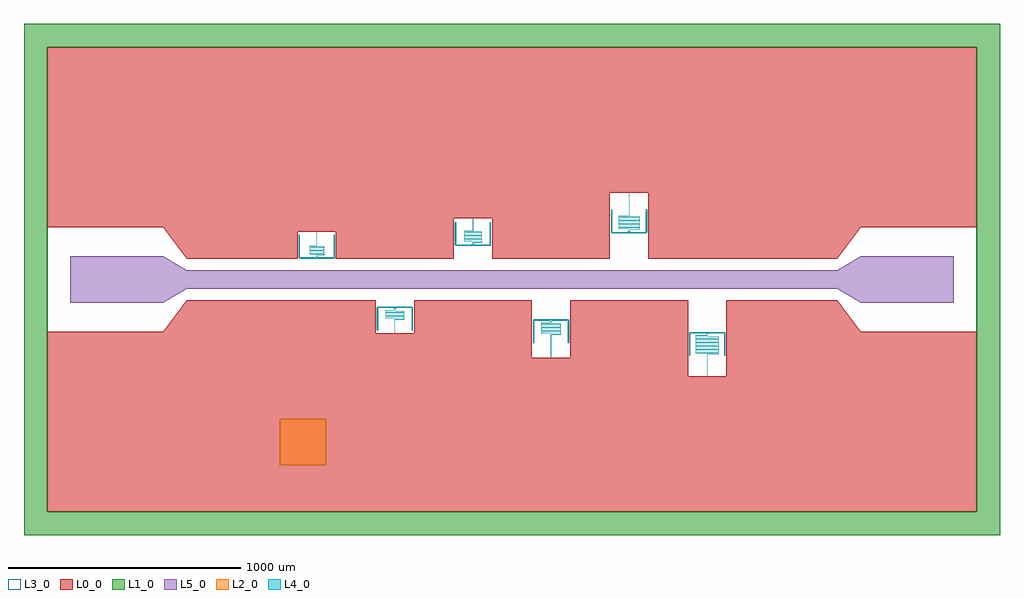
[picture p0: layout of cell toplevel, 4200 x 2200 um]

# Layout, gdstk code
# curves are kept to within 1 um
import gdstk
lib = gdstk.Library(unit=1e-6, precision=1e-09)
def R(c, l, rs):  # rectangles x0, y0, x1, y1
    for r in rs: c.add(gdstk.rectangle(r[:2], r[2:], *l))
def P(c, l, *ps):  # polygons
    for p in ps: c.add(gdstk.Polygon(p, *l))
L0_0 = (0, 0)
L1_0 = (1, 0)
L2_0 = (2, 0)
L3_0 = (3, 0)
L4_0 = (4, 0)
L5_0 = (5, 0)

toplevel = lib.new_cell('toplevel')
P(toplevel, L0_0, [(-757.5,205),(-757.5,90),(-250.5,90),(-250.5,264.4),(-85.5,264.4),(-85.5,90),(421.5,90),(421.5,373.8),(586.5,373.8),(586.5,90),(1400,90),(1500,225),(2000,225),(2000,1000),(-2000,1000),(-2000,225),(-1500,225),(-1400,90),(-922.5,90),(-922.5,205)],
  [(1400,-90),(922.5,-90),(922.5,-416),(757.5,-416),(757.5,-90),(250.5,-90),(250.5,-336.6),(85.5,-336.6),(85.5,-90),(-421.5,-90),(-421.5,-232.2),(-586.5,-232.2),(-586.5,-90),(-1400,-90),(-1500,-225),(-2000,-225),(-2000,-1000),(2000,-1000),(2000,-225),(1500,-225)])
P(toplevel, L1_0, [(2100,1100),(-2100,1100),(-2100,-1000),(-2000,-1000),(-2000,1000),(2000,1000),(2000,-1000),(-2000,-1000),(-2100,-1000),(-2100,-1100),(2100,-1100)])
R(toplevel, L2_0, [(-1000,-800,-800,-600)])
R(toplevel, L3_0, [(-2000,-1000,2000,1000)])
P(toplevel, L4_0, [(-839.7,103.925),(-839.566,104.536),(-839.02,104.699),(-809.78,104.71),(-808.933,105.13),(-808.7,106.101),(-808.75,109.468),(-809.13,110.067),(-809.828,110.293),(-869.888,110.3),(-870.646,110.605),(-870.689,114.197),(-870.127,114.695),(-809.923,114.702),(-808.79,115.401),(-808.738,119.416),(-809.1,120.044),(-809.81,120.292),(-869.888,120.3),(-870.644,120.598),(-870.682,124.251),(-870.145,124.694),(-809.946,124.701),(-808.797,125.381),(-808.733,129.39),(-809.058,130.008),(-809.816,130.292),(-869.95,130.3),(-870.64,130.589),(-870.687,134.21),(-870.15,134.693),(-810.008,134.7),(-808.81,135.348),(-808.736,139.403),(-809.082,140.029),(-809.786,140.29),(-869.95,140.3),(-870.632,140.57),(-870.691,144.176),(-870.247,144.682),(-840.963,144.701),(-839.834,145.296),(-839.7,205),(-840.3,205),(-840.375,145.555),(-841.02,145.3),(-870.364,145.271),(-871.272,144.358),(-871.178,140.322),(-869.986,139.7),(-809.85,139.693),(-809.312,139.206),(-809.364,135.579),(-810.05,135.3),(-870.214,135.29),(-870.918,135.029),(-871.263,134.409),(-871.198,130.368),(-870.763,129.864),(-869.992,129.7),(-809.864,129.694),(-809.31,129.189),(-809.365,125.576),(-809.985,125.301),(-870.19,125.292),(-870.918,125.029),(-871.264,124.403),(-871.208,120.394),(-870.077,119.702),(-809.855,119.694),(-809.309,119.176),(-809.356,115.598),(-810.112,115.3),(-870.22,115.289),(-870.912,115.034),(-871.265,114.396),(-871.232,110.467),(-870.814,109.894),(-870.077,109.702),(-809.824,109.691),(-809.315,109.227),(-809.308,105.828),(-809.985,105.301),(-839.481,105.246),(-840.278,104.32),(-840.3,100),(-850,95),(-910.62,95),(-912.27,95.279),(-912.502,190.109),(-912.952,191.434),(-914.043,192.31),(-915.326,192.479),(-916.607,191.915),(-917.266,191.056),(-917.5,190),(-917.475,95.954),(-916.915,93.4),(-915.563,91.507),(-913.447,90.346),(-910.644,90),(-769.356,90),(-766.888,90.253),(-764.934,91.118),(-763.131,93.296),(-762.504,96.513),(-762.5,190),(-763.085,191.607),(-764.353,192.415),(-765.752,192.384),(-766.983,191.522),(-767.498,190.109),(-767.5,96.88),(-767.751,95.251),(-769.38,95),(-830,95),(-839.7,100)],
  [(-504.302,-131.277),(-504.443,-131.746),(-504.919,-131.897),(-542.377,-131.931),(-543.085,-132.355),(-543.3,-133.258),(-543.267,-136.59),(-542.965,-137.187),(-542.39,-137.467),(-466.01,-137.5),(-465.432,-137.666),(-465.3,-138.322),(-465.32,-141.459),(-465.891,-141.896),(-541.981,-141.9),(-542.75,-142.057),(-543.19,-142.548),(-543.261,-146.616),(-542.9,-147.244),(-542.172,-147.493),(-466.06,-147.5),(-465.367,-147.773),(-465.313,-151.414),(-465.877,-151.895),(-541.975,-151.9),(-542.73,-152.047),(-543.172,-152.509),(-543.263,-156.609),(-542.906,-157.239),(-542.172,-157.493),(-466.06,-157.5),(-465.376,-157.752),(-465.313,-161.41),(-465.877,-161.895),(-541.97,-161.9),(-543.15,-162.463),(-543.265,-166.596),(-542.912,-167.234),(-542.178,-167.493),(-466.065,-167.5),(-465.388,-167.729),(-465.309,-171.38),(-465.79,-171.887),(-503.003,-171.9),(-504.117,-172.405),(-504.3,-232.2),(-503.7,-232.2),(-503.606,-172.718),(-502.96,-172.5),(-465.693,-172.48),(-465.041,-172.192),(-464.728,-171.558),(-464.864,-167.437),(-466.03,-166.9),(-542.123,-166.895),(-542.687,-166.41),(-542.618,-162.74),(-541.935,-162.5),(-465.828,-162.493),(-465.093,-162.239),(-464.736,-161.603),(-464.837,-157.489),(-466.025,-156.9),(-542.123,-156.895),(-542.687,-156.41),(-542.628,-152.761),(-541.94,-152.5),(-465.828,-152.493),(-465.099,-152.244),(-464.738,-151.616),(-464.816,-147.535),(-465.263,-147.05),(-466.025,-146.9),(-542.123,-146.895),(-542.687,-146.414),(-542.636,-142.779),(-541.94,-142.5),(-465.852,-142.495),(-465.136,-142.272),(-464.736,-141.603),(-464.8,-137.575),(-465.218,-137.075),(-465.969,-136.901),(-542.167,-136.892),(-542.685,-136.427),(-542.694,-133.055),(-542.548,-132.644),(-542.077,-132.502),(-504.584,-132.462),(-503.986,-132.136),(-503.726,-131.545),(-503.7,-127.2),(-494,-122.2),(-433.38,-122.2),(-431.73,-122.479),(-431.5,-124.08),(-431.498,-217.309),(-431.048,-218.634),(-429.957,-219.51),(-428.674,-219.679),(-427.393,-219.115),(-426.734,-218.256),(-426.5,-217.2),(-426.525,-123.154),(-427.1,-120.565),(-428.437,-118.707),(-430.552,-117.546),(-433.356,-117.2),(-574.644,-117.2),(-577.112,-117.453),(-579.066,-118.318),(-580.853,-120.461),(-581.496,-123.713),(-581.5,-217.2),(-580.915,-218.807),(-579.647,-219.615),(-578.248,-219.584),(-577.017,-218.722),(-576.502,-217.309),(-576.5,-124.08),(-576.254,-122.457),(-574.62,-122.2),(-514,-122.2),(-504.3,-127.2)],
  [(-167.7,158.33),(-167.559,158.944),(-167.005,159.099),(-131.316,159.107),(-130.461,159.494),(-130.2,160.501),(-130.257,163.894),(-130.624,164.462),(-131.358,164.695),(-204.388,164.7),(-205.148,165.012),(-205.184,168.639),(-204.654,169.093),(-131.463,169.101),(-130.718,169.275),(-130.3,169.775),(-130.236,173.803),(-130.57,174.419),(-131.346,174.694),(-204.445,174.7),(-205.139,174.986),(-205.187,178.614),(-204.627,179.095),(-131.519,179.1),(-130.75,179.257),(-130.31,179.748),(-130.238,183.816),(-130.593,184.439),(-131.322,184.693),(-204.44,184.7),(-205.132,184.97),(-205.187,188.61),(-204.627,189.095),(-131.525,189.1),(-130.776,189.243),(-130.331,189.702),(-130.236,193.803),(-130.593,194.439),(-131.322,194.693),(-204.44,194.7),(-205.121,194.946),(-205.187,198.61),(-204.627,199.095),(-131.53,199.1),(-130.357,199.65),(-130.235,203.796),(-130.587,204.434),(-131.316,204.692),(-204.435,204.7),(-205.109,204.924),(-205.191,208.576),(-204.714,209.087),(-168.991,209.101),(-167.89,209.592),(-167.7,264.4),(-168.3,264.4),(-168.399,209.911),(-169.04,209.7),(-204.82,209.678),(-205.47,209.382),(-205.774,208.745),(-205.629,204.624),(-204.47,204.1),(-131.373,204.095),(-130.812,203.606),(-130.885,199.935),(-131.56,199.7),(-204.684,199.692),(-205.412,199.434),(-205.765,198.796),(-205.657,194.676),(-205.211,194.237),(-204.475,194.1),(-131.373,194.095),(-130.813,193.61),(-130.873,189.958),(-131.56,189.7),(-204.678,189.693),(-205.406,189.439),(-205.763,188.809),(-205.681,184.728),(-205.237,184.25),(-204.481,184.1),(-131.373,184.095),(-130.813,183.614),(-130.864,179.979),(-131.555,179.7),(-204.678,179.693),(-205.406,179.439),(-205.762,178.816),(-205.695,174.761),(-205.256,174.26),(-204.481,174.1),(-131.386,174.096),(-130.819,173.655),(-130.855,170.002),(-131.505,169.7),(-204.653,169.694),(-205.394,169.448),(-205.765,168.796),(-205.708,164.794),(-205.224,164.243),(-204.388,164.1),(-131.346,164.093),(-130.944,163.948),(-130.801,163.444),(-130.808,160.228),(-131.172,159.734),(-167.428,159.659),(-168.019,159.33),(-168.275,158.739),(-168.3,154.4),(-178,149.4),(-238.62,149.4),(-240.243,149.646),(-240.5,151.3),(-240.502,244.509),(-240.952,245.834),(-242.043,246.71),(-243.326,246.879),(-244.607,246.315),(-245.266,245.456),(-245.5,244.4),(-245.475,150.354),(-244.915,147.8),(-243.563,145.907),(-241.447,144.746),(-238.644,144.4),(-97.356,144.4),(-94.888,144.653),(-92.934,145.518),(-91.923,146.434),(-91.131,147.696),(-90.503,150.963),(-90.5,244.4),(-91.085,246.007),(-92.353,246.815),(-93.752,246.784),(-94.983,245.922),(-95.498,244.509),(-95.5,151.28),(-95.751,149.651),(-97.38,149.4),(-158,149.4),(-167.7,154.4)],
  [(167.697,-185.677),(167.555,-186.148),(167.077,-186.298),(127.699,-186.319),(126.961,-186.693),(126.701,-187.58),(126.729,-190.964),(127.007,-191.559),(127.493,-191.84),(208.091,-191.903),(208.544,-192.041),(208.695,-192.468),(208.695,-195.723),(208.427,-196.233),(127.876,-196.304),(127.082,-196.571),(126.715,-197.33),(126.725,-200.939),(127.296,-201.766),(208.114,-201.904),(208.548,-202.044),(208.689,-202.407),(208.494,-206.198),(127.876,-206.304),(127.058,-206.591),(126.717,-207.318),(126.712,-210.838),(127.142,-211.676),(128.111,-211.9),(208.114,-211.904),(208.688,-212.398),(208.53,-216.172),(127.882,-216.304),(127.099,-216.556),(126.731,-217.223),(126.704,-220.724),(127.013,-221.565),(128.111,-221.9),(208.109,-221.904),(208.687,-222.386),(208.559,-226.144),(127.888,-226.304),(127.148,-226.52),(126.75,-227.132),(126.7,-230.597),(127.013,-231.565),(127.957,-231.899),(207.94,-231.9),(208.644,-232.198),(208.689,-235.793),(208.206,-236.288),(168.98,-236.301),(168.231,-236.468),(167.8,-236.975),(167.7,-336.6),(168.3,-336.6),(168.359,-237.192),(169.03,-236.9),(208.294,-236.881),(208.948,-236.603),(209.267,-235.99),(209.205,-231.988),(208.763,-231.464),(207.981,-231.3),(127.882,-231.295),(127.314,-230.818),(127.353,-227.208),(128.055,-226.9),(208.165,-226.894),(208.894,-226.648),(209.259,-226.028),(209.217,-222.021),(208.782,-221.475),(207.981,-221.3),(127.882,-221.295),(127.314,-220.823),(127.348,-217.222),(128.055,-216.9),(208.165,-216.894),(208.894,-216.648),(209.257,-216.035),(209.226,-212.047),(208.788,-211.479),(207.981,-211.3),(127.882,-211.295),(127.314,-210.823),(127.344,-207.236),(128.055,-206.9),(208.165,-206.894),(208.894,-206.648),(209.257,-206.035),(209.234,-202.073),(208.801,-201.487),(207.986,-201.3),(127.882,-201.295),(127.315,-200.827),(127.341,-197.246),(128.055,-196.9),(208.13,-196.896),(208.882,-196.658),(209.257,-196.035),(209.24,-192.093),(208.858,-191.524),(208.031,-191.301),(127.868,-191.295),(127.313,-190.814),(127.378,-187.149),(128.106,-186.9),(167.454,-186.853),(168.008,-186.542),(168.273,-185.951),(168.3,-181.6),(178,-176.6),(238.62,-176.6),(240.243,-176.846),(240.5,-178.5),(240.502,-271.709),(240.734,-272.656),(241.311,-273.443),(242.145,-273.949),(243.109,-274.098),(244.768,-273.368),(245.498,-271.709),(245.5,-178.48),(245.154,-175.652),(243.964,-173.505),(242.031,-172.156),(239.327,-171.614),(97.356,-171.6),(95.02,-171.821),(93.07,-172.627),(91.923,-173.634),(91.147,-174.861),(90.505,-178.062),(90.5,-271.6),(90.69,-272.557),(91.311,-273.443),(92.248,-273.984),(93.218,-274.09),(94.768,-273.368),(95.498,-271.709),(95.5,-178.48),(95.751,-176.851),(97.38,-176.6),(158,-176.6),(167.7,-181.6)],
  [(504.3,212.73),(504.421,213.321),(504.933,213.498),(548.332,213.524),(549.058,213.918),(549.299,214.78),(549.269,218.177),(549.024,218.724),(548.474,219.048),(459.919,219.103),(459.458,219.239),(459.306,219.664),(459.305,222.923),(459.573,223.433),(548.118,223.504),(548.948,223.797),(549.29,224.586),(549.274,228.145),(548.652,228.99),(459.886,229.104),(459.452,229.244),(459.311,229.603),(459.304,232.904),(459.508,233.399),(548.118,233.504),(548.936,233.786),(549.282,234.512),(549.287,238.045),(548.852,238.88),(547.888,239.1),(459.891,239.104),(459.458,239.239),(459.312,239.594),(459.472,243.374),(548.112,243.503),(548.894,243.752),(549.269,244.423),(549.288,248.038),(548.953,248.798),(547.888,249.1),(459.896,249.104),(459.464,249.233),(459.314,249.582),(459.443,253.346),(548.106,253.503),(548.912,253.766),(549.264,254.397),(549.296,257.924),(549.019,258.73),(547.888,259.1),(459.896,259.104),(459.47,259.228),(459.315,259.573),(459.416,263.314),(460.117,263.5),(548.106,263.503),(548.833,263.707),(549.241,264.3),(549.299,267.797),(548.987,268.765),(548.037,269.099),(460.065,269.1),(459.363,269.382),(459.311,272.993),(459.807,273.489),(503.008,273.501),(503.75,273.657),(504.184,274.135),(504.3,373.8),(503.7,373.8),(503.633,274.373),(502.96,274.1),(459.724,274.084),(459.058,273.808),(458.733,273.19),(458.808,269.155),(459.25,268.657),(460.03,268.5),(548.104,268.496),(548.528,268.374),(548.686,268.023),(548.641,264.392),(547.94,264.1),(459.846,264.094),(459.105,263.848),(458.741,263.228),(458.795,259.188),(459.237,258.664),(460.025,258.5),(548.109,258.496),(548.528,258.374),(548.686,258.023),(548.646,254.405),(547.94,254.1),(459.846,254.094),(459.105,253.848),(458.741,253.228),(458.785,249.214),(459.224,248.671),(460.025,248.5),(548.109,248.496),(548.528,248.374),(548.686,248.023),(548.651,244.418),(547.94,244.1),(459.852,244.095),(459.112,243.853),(458.743,243.235),(458.776,239.24),(459.211,238.679),(460.025,238.5),(548.109,238.496),(548.528,238.374),(548.685,238.027),(548.655,234.432),(547.94,234.1),(459.852,234.095),(459.112,233.853),(458.744,233.241),(458.768,229.267),(459.199,228.687),(460.019,228.5),(548.109,228.496),(548.528,228.374),(548.685,228.027),(548.657,224.439),(547.945,224.1),(459.882,224.096),(459.118,223.858),(458.743,223.235),(458.762,219.287),(459.186,218.694),(459.98,218.501),(548.063,218.498),(548.528,218.374),(548.686,218.018),(548.622,214.349),(547.894,214.1),(504.571,214.059),(504.002,213.753),(503.728,213.158),(503.7,208.8),(494,203.8),(433.38,203.8),(431.765,204.04),(431.5,205.68),(431.498,298.909),(431.266,299.856),(430.689,300.643),(429.855,301.149),(428.891,301.298),(427.943,301.066),(427.232,300.568),(426.69,299.757),(426.502,298.909),(426.5,205.656),(426.846,202.852),(428.007,200.737),(429.935,199.37),(432.673,198.814),(574.644,198.8),(576.98,199.021),(578.895,199.805),(579.964,200.705),(580.82,201.992),(581.321,203.515),(581.493,205.185),(581.5,298.8),(581.31,299.757),(580.689,300.643),(579.752,301.184),(578.782,301.29),(577.232,300.568),(576.69,299.757),(576.502,298.909),(576.5,205.68),(576.254,204.057),(574.62,203.8),(514,203.8),(504.3,208.8)],
  [(839.697,-240.081),(839.548,-240.555),(839.058,-240.698),(790.693,-240.72),(789.956,-241.099),(789.701,-241.963),(789.731,-245.377),(790.029,-245.982),(790.604,-246.265),(889.091,-246.303),(889.544,-246.441),(889.695,-246.868),(889.692,-250.163),(889.375,-250.653),(790.894,-250.703),(790.029,-251.018),(789.712,-251.768),(789.726,-255.345),(789.961,-255.906),(790.388,-256.205),(889.109,-256.304),(889.546,-256.443),(889.697,-256.905),(889.696,-260.109),(889.445,-260.625),(790.888,-260.704),(790.064,-260.986),(789.718,-261.712),(789.713,-265.245),(790.192,-266.11),(791.117,-266.3),(889.109,-266.304),(889.542,-266.439),(889.688,-266.794),(889.696,-270.109),(889.523,-270.577),(790.894,-270.703),(790.07,-270.981),(789.72,-271.693),(789.713,-275.245),(790.082,-276.029),(791.117,-276.3),(889.104,-276.304),(889.538,-276.435),(889.687,-276.786),(889.556,-280.548),(888.883,-280.7),(790.894,-280.703),(790.082,-280.971),(789.723,-281.674),(789.704,-285.124),(790.018,-285.97),(791.117,-286.3),(889.1,-286.304),(889.532,-286.43),(889.686,-286.777),(889.556,-290.548),(888.883,-290.7),(790.9,-290.703),(790.1,-290.956),(789.727,-291.649),(789.704,-295.124),(789.956,-295.9),(790.44,-296.224),(791.117,-296.3),(889.095,-296.303),(889.523,-296.423),(889.69,-296.811),(889.582,-300.516),(888.883,-300.7),(790.792,-300.709),(790.047,-301.002),(789.73,-301.63),(789.704,-305.124),(789.928,-305.864),(790.394,-306.208),(791.117,-306.3),(889.095,-306.303),(889.546,-306.443),(889.689,-306.807),(889.607,-310.479),(888.883,-310.7),(790.911,-310.702),(790.199,-310.887),(789.772,-311.454),(789.7,-314.992),(790.013,-315.965),(790.974,-316.299),(888.93,-316.3),(889.625,-316.555),(889.689,-320.193),(889.548,-320.555),(889.176,-320.691),(841.003,-320.7),(840.283,-320.84),(839.843,-321.276),(839.7,-322.079),(839.7,-416),(840.3,-416),(840.379,-321.546),(841.045,-321.3),(889.251,-321.287),(889.936,-321.014),(890.268,-320.383),(890.166,-316.296),(889.717,-315.84),(888.964,-315.7),(790.905,-315.697),(790.472,-315.574),(790.314,-315.218),(790.371,-311.564),(791.065,-311.3),(889.136,-311.295),(889.888,-311.053),(890.26,-310.422),(890.181,-306.328),(889.73,-305.847),(888.964,-305.7),(790.905,-305.697),(790.475,-305.575),(790.314,-305.223),(790.364,-301.579),(791.065,-301.3),(889.136,-301.295),(889.888,-301.053),(890.259,-300.428),(890.195,-296.361),(889.75,-295.857),(888.97,-295.7),(790.905,-295.697),(790.475,-295.575),(790.315,-295.227),(790.358,-291.595),(791.065,-291.3),(889.136,-291.295),(889.882,-291.058),(890.257,-290.435),(890.208,-286.394),(889.763,-285.864),(888.97,-285.7),(790.905,-285.697),(790.475,-285.575),(790.315,-285.227),(790.353,-281.608),(791.065,-281.3),(889.136,-281.295),(889.882,-281.058),(890.257,-280.435),(890.215,-276.414),(889.776,-275.871),(888.97,-275.7),(790.905,-275.697),(790.475,-275.575),(790.315,-275.227),(790.349,-271.618),(790.567,-271.369),(791.06,-271.3),(889.136,-271.295),(889.882,-271.058),(890.256,-270.442),(890.224,-266.44),(889.782,-265.875),(888.97,-265.7),(790.905,-265.697),(790.477,-265.577),(790.315,-265.231),(790.345,-261.632),(790.561,-261.372),(791.06,-261.3),(889.136,-261.295),(889.882,-261.058),(890.256,-260.442),(890.23,-256.46),(889.795,-255.883),(888.975,-255.7),(790.914,-255.697),(790.488,-255.586),(790.32,-255.263),(790.345,-251.632),(790.558,-251.373),(791.025,-251.3),(889.196,-251.292),(889.882,-251.058),(890.256,-250.441),(890.243,-246.506),(889.845,-245.915),(889.031,-245.701),(790.937,-245.698),(790.47,-245.572),(790.314,-245.218),(790.359,-241.592),(791.106,-241.3),(839.403,-241.264),(839.987,-240.965),(840.271,-240.364),(840.3,-236),(850,-231),(910.62,-231),(912.218,-231.228),(912.5,-232.9),(912.502,-326.109),(912.734,-327.056),(913.311,-327.843),(914.145,-328.349),(915.109,-328.498),(915.957,-328.31),(916.768,-327.768),(917.31,-326.957),(917.498,-326.109),(917.5,-232.88),(917.154,-230.052),(916.678,-228.915),(915.964,-227.905),(914.031,-226.556),(911.327,-226.014),(769.356,-226),(767.02,-226.221),(765.07,-227.027),(763.923,-228.034),(763.147,-229.261),(762.679,-230.715),(762.505,-232.462),(762.5,-326),(762.69,-326.957),(763.311,-327.843),(764.248,-328.384),(765.218,-328.49),(766.056,-328.266),(766.768,-327.768),(767.31,-326.957),(767.498,-326.109),(767.5,-232.88),(767.751,-231.251),(769.38,-231),(830,-231),(839.7,-236)])
P(toplevel, L5_0, [(-1400,40),(-1500,100),(-1900,100),(-1900,-100),(-1500,-100),(-1400,-40),(1400,-40),(1500,-100),(1900,-100),(1900,100),(1500,100),(1400,40)])

lib.write_gds('toplevel.gds')
